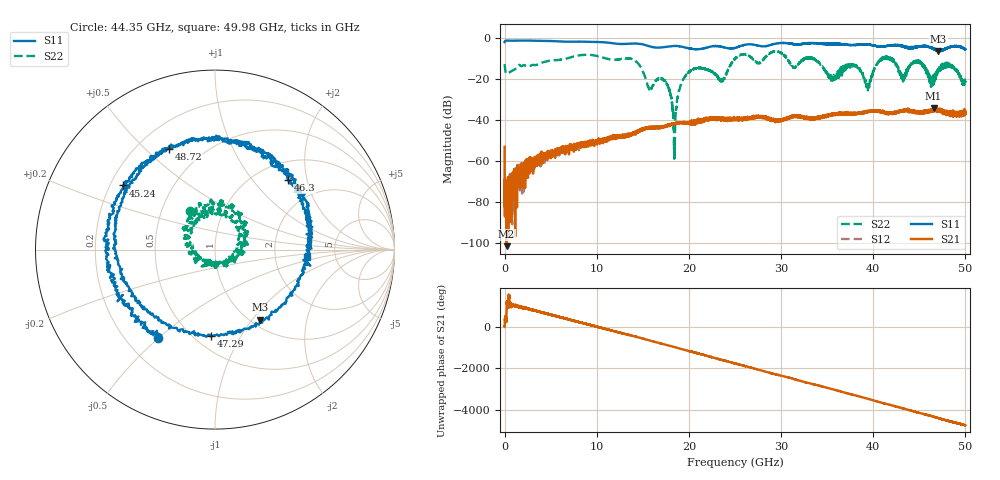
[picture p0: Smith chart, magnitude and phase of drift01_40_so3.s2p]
!Created with skrf (http://scikit-rf.org).
# Hz S RI R 50.0
!freq ReS11 ImS11 ReS21 ImS21 ReS12 ImS12 ReS22 ImS22
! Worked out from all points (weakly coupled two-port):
!   10001 points, 300 kHz to 50 GHz, reference 50 ohm
!   highest |S21| = -34.31 dB at 46.54 GHz (marker M1); lowest = -101.7 dB at 220.3 MHz (marker M2)
!   lowest |S11| = -6.7 dB at 47.07 GHz (marker M3), VSWR 2.73, Z = 55 - j54.8 ohm
!   |S11| at or under -10 dB: nowhere
!   |S22| runs from -59.1 to -6.7 dB; largest |S21 - S12| = 0.0044
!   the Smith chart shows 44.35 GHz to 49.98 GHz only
!   S11 on the Smith chart (normalised r, x): 44.35 GHz: 0.33, -0.50; 45.24 GHz: 0.25, +0.30; 46.3 GHz: 1.37, +1.54; 47.29 GHz: 0.60, -0.76; 48.72 GHz: 0.33, +0.60; 49.98 GHz: 3.09, -0.37
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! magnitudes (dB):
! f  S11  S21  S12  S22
! 300 kHz  -2.1  -53.2  -58.9  -12.9
! 220.3 MHz  -1.4  -101.7  -81.3  -17.5
! 8.335 GHz  -1.9  -52.9  -52.1  -8.5
! 16.67 GHz  -4.8  -43.4  -43.8  -19.9
! 17.74 GHz  -4.3  -42.7  -43.0  -23.9
! 18.44 GHz  -4.1  -41.8  -41.8  -51.7
! 19.89 GHz  -5.1  -41.5  -41.5  -17.1
! 23.6 GHz  -4.5  -39.9  -39.6  -20.6
! 25 GHz  -5.0  -39.6  -39.3  -10.4
! 33.34 GHz  -2.6  -39.2  -39.4  -9.9
! 39.46 GHz  -3.3  -36.1  -36.0  -23.4
! 41.67 GHz  -3.9  -36.5  -36.7  -10.1
! 43.18 GHz  -4.2  -35.5  -35.4  -19.0
! 44.35 GHz  -4.6  -36.2  -36.1  -11.8
! 45.24 GHz  -4.1  -36.6  -36.7  -12.1
! 46.3 GHz  -5.0  -36.1  -35.4  -23.6
! 46.54 GHz  -5.4  -34.3  -35.1  -20.3
! 47.07 GHz  -6.7  -35.6  -35.1  -16.2
! 47.29 GHz  -6.3  -35.5  -35.6  -15.9
! 48.72 GHz  -4.2  -37.5  -36.7  -14.4
! 49.98 GHz  -5.7  -36.4  -36.5  -21.5
! 50 GHz  -5.7  -37.3  -36.9  -22.0
